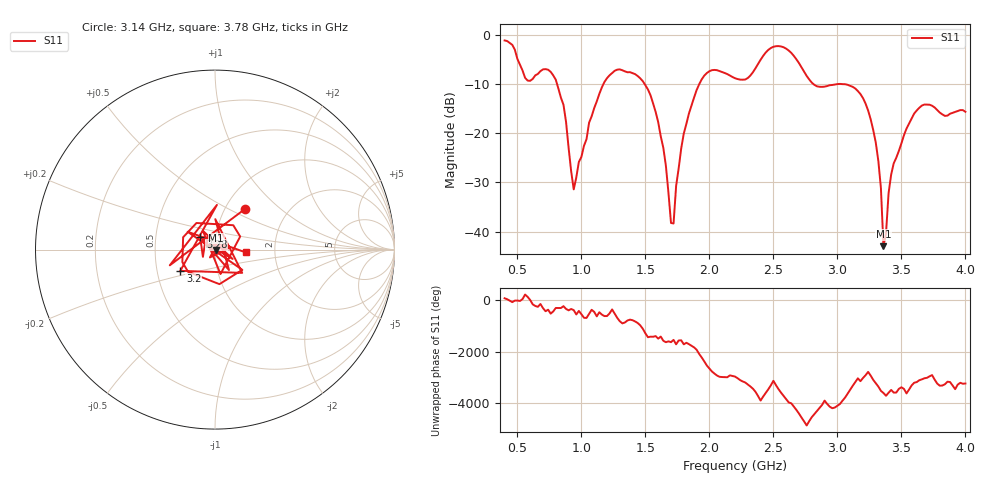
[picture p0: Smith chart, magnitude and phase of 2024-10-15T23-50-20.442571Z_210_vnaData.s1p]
! Created with skrf (http://scikit-rf.org).
# Hz S RI R 50.0
!freq ReS11 ImS11
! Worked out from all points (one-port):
!   181 points, 400 MHz to 4 GHz, reference 50 ohm
!   lowest |S11| = -43.0 dB at 3.36 GHz (marker M1), VSWR 1.01, Z = 50.7 - j0.145 ohm
!   |S11| at or under -10 dB: 809.3 MHz to 1.173 GHz (363.8 MHz wide, 36.7 % of centre); 1.493 GHz to 1.922 GHz (429 MHz wide, 25.1 % of centre); 2.811 GHz to end of sweep
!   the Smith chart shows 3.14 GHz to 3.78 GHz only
!   S11 on the Smith chart (normalised r, x): 3.14 GHz: 1.24, +0.61; 3.2 GHz: 0.66, -0.16; 3.28 GHz: 0.84, +0.12; 3.78 GHz: 1.41, -0.05
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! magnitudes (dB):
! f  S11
! 400 MHz  -1.2
! 580 MHz  -9.3
! 760 MHz  -7.6
! 860 MHz  -14.2
! 940 MHz  -31.4
! 1.14 GHz  -12.0
! 1.3 GHz  -7.1
! 1.54 GHz  -12.3
! 1.64 GHz  -23.0
! 1.7 GHz  -38.3
! 1.72 GHz  -38.4
! 1.76 GHz  -27.1
! 1.84 GHz  -16.0
! 1.94 GHz  -9.1
! 2.2 GHz  -8.9
! 2.5 GHz  -2.5
! 2.66 GHz  -4.3
! 2.84 GHz  -10.5
! 3.1 GHz  -10.4
! 3.14 GHz  -11.0
! 3.2 GHz  -12.9
! 3.28 GHz  -19.4
! 3.34 GHz  -31.2
! 3.36 GHz  -43.0
! 3.42 GHz  -28.4
! 3.56 GHz  -18.1
! 3.78 GHz  -15.3
! 4 GHz  -15.7
